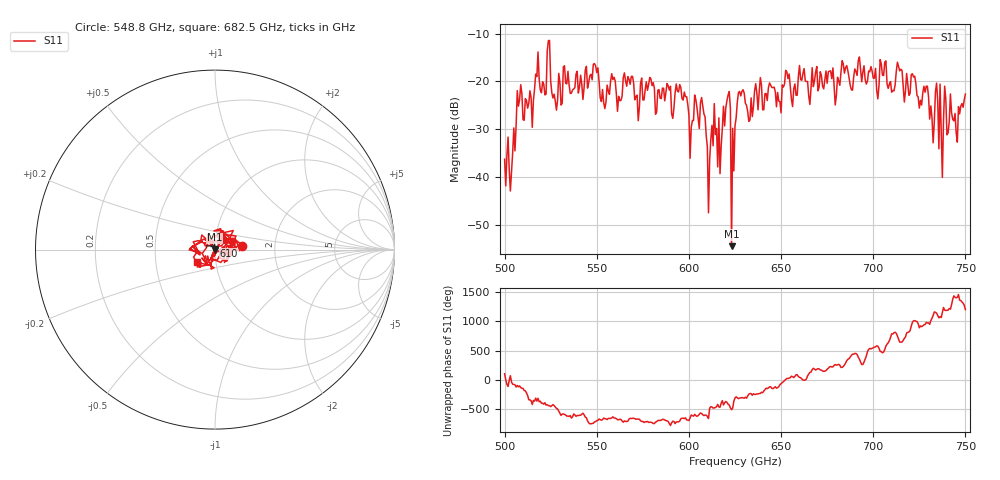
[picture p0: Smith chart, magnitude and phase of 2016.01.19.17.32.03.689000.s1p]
!Created with skrf (http://scikit-rf.org).
# GHz S RI R 50.0
!freq ReS11 ImS11
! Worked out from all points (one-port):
!   401 points, 500 GHz to 750 GHz, reference 50 ohm
!   lowest |S11| = -54.5 dB at 623.1 GHz (marker M1), VSWR 1.00, Z = 49.8 - j0.106 ohm
!   |S11| at or under -10 dB: start of sweep to end of sweep
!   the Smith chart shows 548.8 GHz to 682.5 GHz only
!   S11 on the Smith chart (normalised r, x): 548.8 GHz: 1.36, +0.05; 610 GHz: 0.99, +0.04; 682.5 GHz: 0.81, -0.12
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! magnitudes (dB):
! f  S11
! 500 GHz  -36.3
! 504.4 GHz  -34.9
! 508.1 GHz  -23.8
! 521.2 GHz  -20.6
! 523.8 GHz  -11.5
! 526.9 GHz  -22.6
! 531.2 GHz  -24.5
! 548.8 GHz  -16.3
! 562.5 GHz  -24.0
! 593.8 GHz  -22.0
! 601.2 GHz  -29.6
! 607.5 GHz  -25.0
! 610 GHz  -33.8
! 613.8 GHz  -24.6
! 616.9 GHz  -39.3
! 621.2 GHz  -22.8
! 623.1 GHz  -54.5
! 625 GHz  -29.3
! 628.1 GHz  -23.0
! 656.2 GHz  -25.3
! 682.5 GHz  -18.1
! 687.5 GHz  -20.8
! 718.8 GHz  -20.7
! 728.8 GHz  -21.0
! 731.9 GHz  -27.6
! 735 GHz  -24.2
! 736.9 GHz  -30.3
! 750 GHz  -22.6
